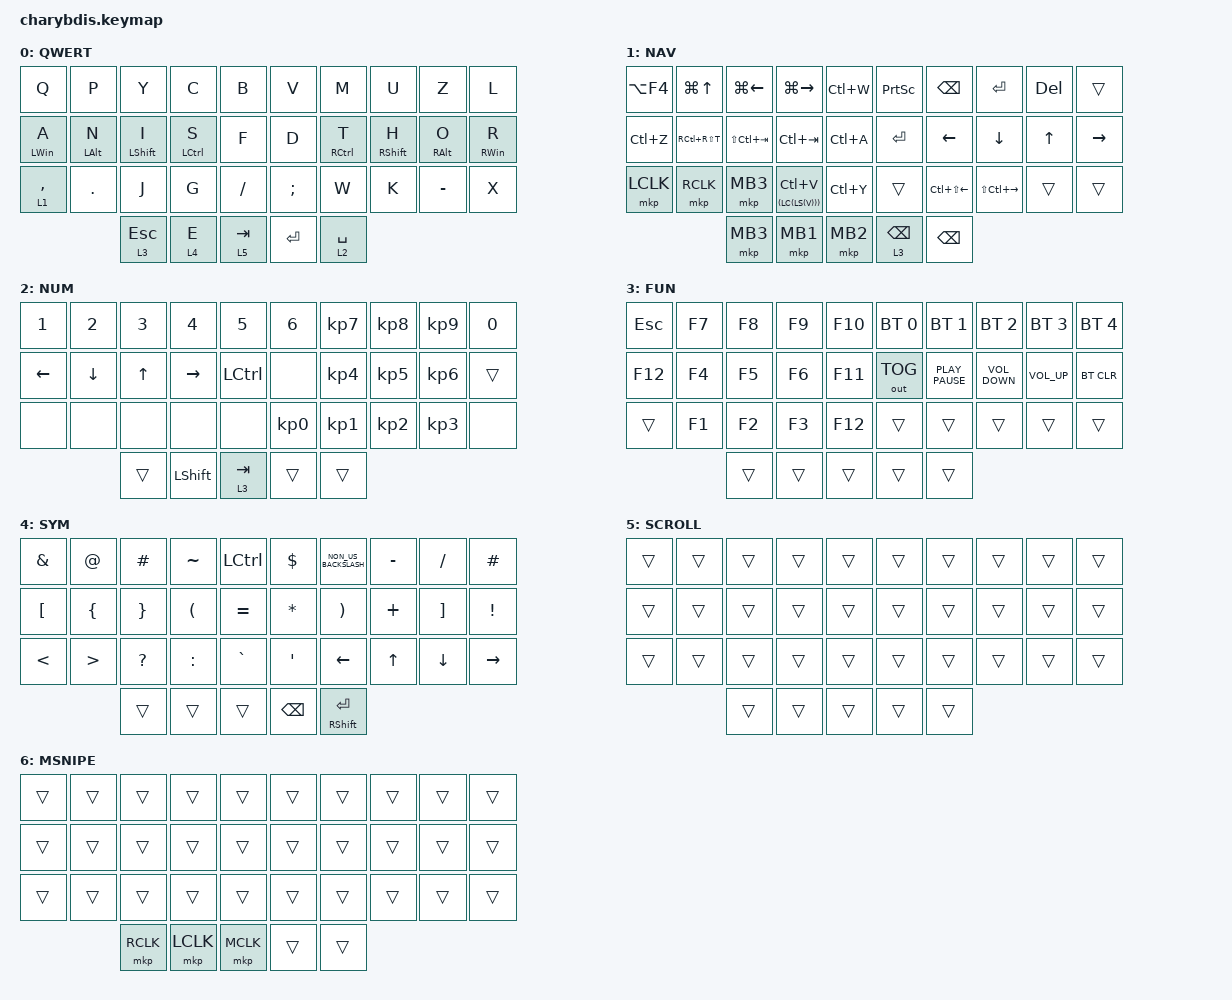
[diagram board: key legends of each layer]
#include <behaviors/mouse_keys.dtsi>
#include <dt-bindings/zmk/mouse.h>
#include <behaviors.dtsi>
#include <dt-bindings/zmk/bt.h>
#include <dt-bindings/zmk/keys.h>
#include <dt-bindings/zmk/outputs.h>

&lt {
    tapping-term-ms = <240>;
    flavor = "tap-preferred";
    quick-tap-ms = <150>;
    require-prior-idle-ms = <10>;
};

&mt {
    tapping-term-ms = <250>;
    flavor = "tap-preferred";
    require-prior-idle-ms = <250>;
};

/ {
    chosen { zmk,matrix_transform = &five_column_transform; };
};

/ {
    combos {
        compatible = "zmk,combos";

        LeftClickRight {
            bindings = <&mkp LCLK>;
            key-positions = <16 17>;
        };

        RightClickRight {
            bindings = <&mkp RCLK>;
            key-positions = <17 18>;
        };

        scroll {
            bindings = <&mo 1>;
            key-positions = <20 21>;
        };
    };

    behaviors {
        Shift_Enter: Shift_Enter {
            compatible = "zmk,behavior-hold-tap";
            label = "SHIFT_ENTER";
            bindings = <&kp>, <&kp>;

            #binding-cells = <2>;
            hold-trigger-key-positions = <34>;
            tapping-term-ms = <100>;
        };
    };

    keymap {
        compatible = "zmk,keymap";

        QWERT {
            bindings = <
  &kp Q           &kp P           &kp Y             &kp C               &kp B        &kp V          &kp M                &kp U              &kp Z            &kp L
  &mt LEFT_WIN A  &mt LEFT_ALT N  &mt LEFT_SHIFT I  &mt LEFT_CONTROL S  &kp F        &kp D          &mt RIGHT_CONTROL T  &mt RIGHT_SHIFT H  &mt RIGHT_ALT O  &mt RIGHT_WIN R
  &lt 1 COMMA     &kp PERIOD      &kp J             &kp G               &kp SLASH    &kp SEMICOLON  &kp W                &kp K              &kp MINUS        &kp X
                                  &lt 3 ESCAPE      &lt 4 E             &lt 5 TAB    &kp ENTER      &lt 2 SPACE
            >;
        };

        NAV {
            bindings = <
  &kp LA(F4)  &kp LG(UP_ARROW)  &kp LG(LEFT)     &kp LG(RIGHT)          &kp LC(W)    &kp PRINTSCREEN  &kp BACKSPACE     &kp ENTER          &kp DELETE    &trans
  &kp LC(Z)   &kp RC(RS(T))     &kp LS(LC(TAB))  &kp LC(TAB)            &kp LC(A)    &kp ENTER        &kp LEFT          &kp DOWN           &kp UP_ARROW  &kp RIGHT
  &mkp LCLK   &mkp RCLK         &mkp MB3         &mt (LC(LS(V))) LC(V)  &kp LC(Y)    &trans           &kp LC(LS(LEFT))  &kp LS(LC(RIGHT))  &trans        &trans
                                &mkp MB3         &mkp MB1               &mkp MB2     &lt 3 BACKSPACE  &kp BACKSPACE
            >;
        };

        NUM {
            bindings = <
  &kp N1    &kp N2          &kp N3        &kp N4          &kp N5              &kp N6           &kp KP_NUMBER_7  &kp KP_NUMBER_8  &kp KP_NUMBER_9  &kp N0
  &kp LEFT  &kp DOWN_ARROW  &kp UP_ARROW  &kp RIGHT       &kp LEFT_CONTROL    &none            &kp KP_NUMBER_4  &kp KP_NUMBER_5  &kp KP_NUMBER_6  &trans
  &none     &none           &none         &none           &none               &kp KP_NUMBER_0  &kp KP_NUMBER_1  &kp KP_NUMBER_2  &kp KP_NUMBER_3  &none
                            &trans        &kp LEFT_SHIFT  &lt 3 TAB           &trans           &trans
            >;
        };

        FUN {
            bindings = <
  &kp ESC  &kp F7  &kp F8  &kp F9  &kp F10    &bt BT_SEL 0  &bt BT_SEL 1      &bt BT_SEL 2       &bt BT_SEL 3     &bt BT_SEL 4
  &kp F12  &kp F4  &kp F5  &kp F6  &kp F11    &out OUT_TOG  &kp K_PLAY_PAUSE  &kp C_VOLUME_DOWN  &kp C_VOLUME_UP  &bt BT_CLR
  &trans   &kp F1  &kp F2  &kp F3  &kp F12    &trans        &trans            &trans             &trans           &trans
                   &trans  &trans  &trans     &trans        &trans
            >;
        };

        SYM {
            bindings = <
  &kp AMPERSAND     &kp AT_SIGN       &kp HASH         &kp TILDE             &kp LCTRL    &kp DOLLAR    &kp NON_US_BACKSLASH   &kp MINUS     &kp SLASH          &kp HASH
  &kp LEFT_BRACKET  &kp LEFT_BRACE    &kp RIGHT_BRACE  &kp LEFT_PARENTHESIS  &kp EQUAL    &kp ASTERISK  &kp RIGHT_PARENTHESIS  &kp PLUS      &kp RIGHT_BRACKET  &kp EXCLAMATION
  &kp LESS_THAN     &kp GREATER_THAN  &kp QUESTION     &kp COLON             &kp GRAVE    &kp SQT       &kp LEFT               &kp UP_ARROW  &kp DOWN           &kp RIGHT
                                      &trans           &trans                &trans       &kp BACKSPACE        &mt RIGHT_SHIFT ENTER
            >;
        };

        SCROLL {
            bindings = <
  &trans  &trans  &trans  &trans  &trans    &trans  &trans  &trans  &trans  &trans
  &trans  &trans  &trans  &trans  &trans    &trans  &trans  &trans  &trans  &trans
  &trans  &trans  &trans  &trans  &trans    &trans  &trans  &trans  &trans  &trans
                  &trans  &trans  &trans    &trans  &trans
            >;
        };

        MSNIPE {
            bindings = <
  &trans  &trans  &trans     &trans     &trans       &trans  &trans  &trans  &trans  &trans
  &trans  &trans  &trans     &trans     &trans       &trans  &trans  &trans  &trans  &trans
  &trans  &trans  &trans     &trans     &trans       &trans  &trans  &trans  &trans  &trans
                  &mkp RCLK  &mkp LCLK  &mkp MCLK    &trans  &trans
            >;
        };
    };
};
